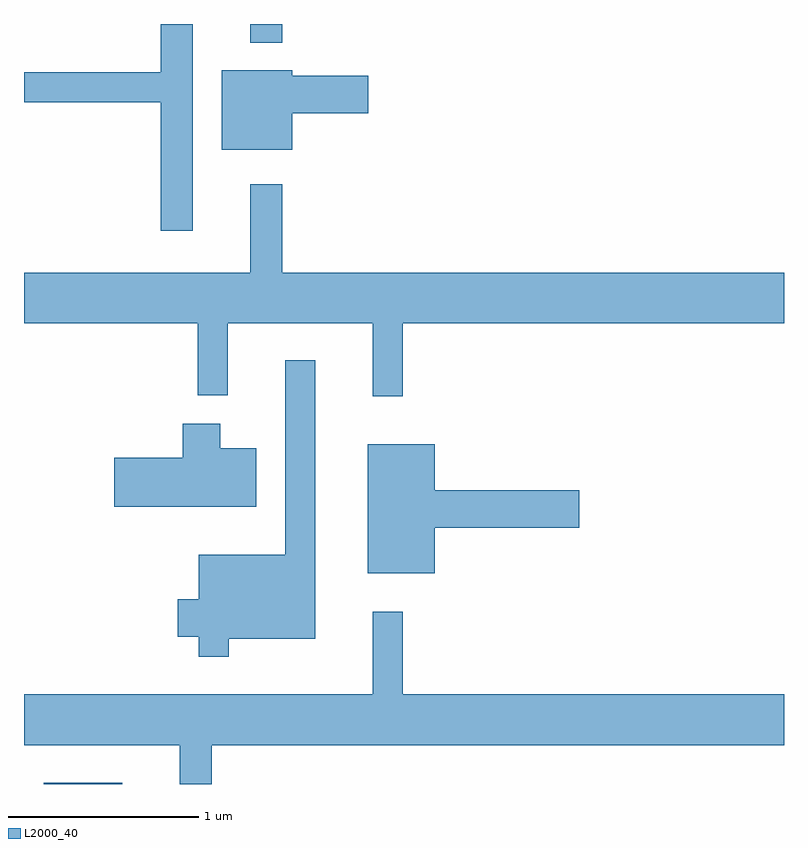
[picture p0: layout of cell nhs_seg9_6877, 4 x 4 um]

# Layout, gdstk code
import gdstk
lib = gdstk.Library(unit=1e-6, precision=1e-09)
def R(c, l, rs):  # rectangles x0, y0, x1, y1
    for r in rs: c.add(gdstk.rectangle(r[:2], r[2:], *l))
def P(c, l, *ps):  # polygons
    for p in ps: c.add(gdstk.Polygon(p, *l))
L2000_40 = (2000, 40)

nhs_seg9_6877 = lib.new_cell('nhs_seg9_6877')
R(nhs_seg9_6877, L2000_40, [(387.716,2060.432,388.129,2060.439), (388.801,2064.333,388.969,2064.432)])
P(nhs_seg9_6877, L2000_40, [(388.499,2064.432),(388.331,2064.432),(388.331,2064.179),(387.611,2064.179),(387.611,2064.021),(388.331,2064.021),(388.331,2063.343),(388.499,2063.343)],
  [(389.024,2063.961),(389.424,2063.961),(389.424,2064.159),(389.024,2064.159),(389.024,2064.189),(388.651,2064.189),(388.651,2063.771),(389.024,2063.771)],
  [(389.604,2062.856),(391.611,2062.856),(391.611,2063.124),(388.969,2063.124),(388.969,2063.588),(388.801,2063.588),(388.801,2063.124),(387.611,2063.124),(387.611,2062.856),(388.526,2062.856),(388.526,2062.478),(388.684,2062.478),(388.684,2062.856),(389.446,2062.856),(389.446,2062.472),(389.604,2062.472)],
  [(388.689,2061.196),(389.144,2061.196),(389.144,2062.663),(388.986,2062.663),(388.986,2061.639),(388.531,2061.639),(388.531,2061.404),(388.421,2061.404),(388.421,2061.206),(388.531,2061.206),(388.531,2061.101),(388.689,2061.101)],
  [(388.834,2062.199),(388.644,2062.199),(388.644,2062.329),(388.446,2062.329),(388.446,2062.149),(388.086,2062.149),(388.086,2061.891),(388.834,2061.891)],
  [(389.774,2061.781),(390.534,2061.781),(390.534,2061.979),(389.774,2061.979),(389.774,2062.219),(389.421,2062.219),(389.421,2061.541),(389.774,2061.541)],
  [(388.599,2060.636),(391.611,2060.636),(391.611,2060.904),(389.604,2060.904),(389.604,2061.338),(389.446,2061.338),(389.446,2060.904),(387.611,2060.904),(387.611,2060.636),(388.431,2060.636),(388.431,2060.432),(388.599,2060.432)])

lib.write_gds('nhs_seg9_6877.gds')
